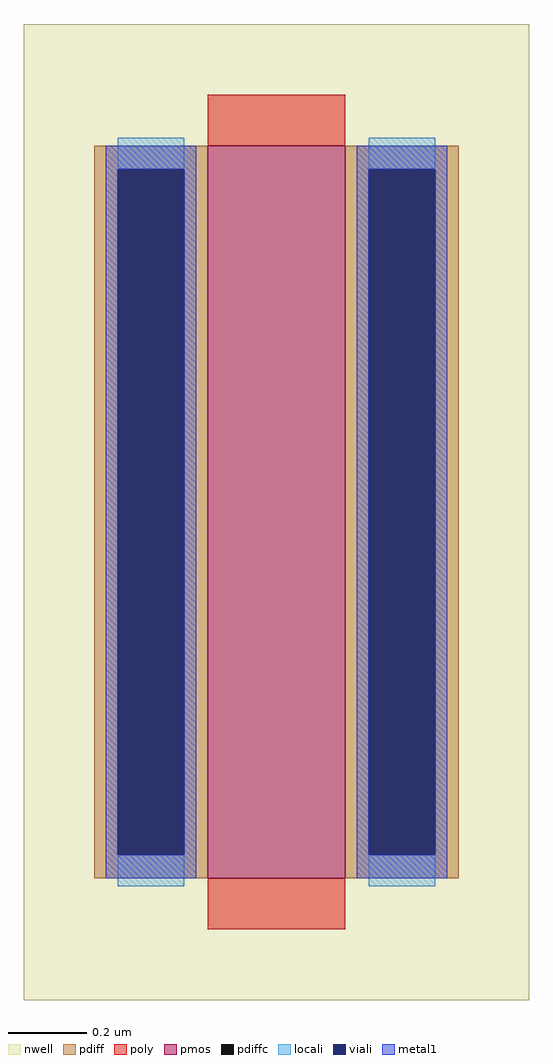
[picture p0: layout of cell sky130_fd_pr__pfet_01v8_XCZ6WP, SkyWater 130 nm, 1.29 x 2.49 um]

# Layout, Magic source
magic
tech sky130A
magscale 1 2
<< nwell >>
rect -129 -249 129 249
<< pmos >>
rect -35 -187 35 187
<< pdiff >>
rect -93 175 -35 187
rect -93 -175 -81 175
rect -47 -175 -35 175
rect -93 -187 -35 -175
rect 35 175 93 187
rect 35 -175 47 175
rect 81 -175 93 175
rect 35 -187 93 -175
<< pdiffc >>
rect -81 -175 -47 175
rect 47 -175 81 175
<< poly >>
rect -35 187 35 213
rect -35 -213 35 -187
<< locali >>
rect -81 175 -47 191
rect -81 -191 -47 -175
rect 47 175 81 191
rect 47 -191 81 -175
<< viali >>
rect -81 -175 -47 175
rect 47 -175 81 175
<< metal1 >>
rect -87 175 -41 187
rect -87 -175 -81 175
rect -47 -175 -41 175
rect -87 -187 -41 -175
rect 41 175 87 187
rect 41 -175 47 175
rect 81 -175 87 175
rect 41 -187 87 -175
<< properties >>
string gencell sky130_fd_pr__pfet_01v8
string library sky130
string parameters w 1.865 l 0.35 m 1 nf 1 diffcov 100 polycov 100 guard 0 glc 0 grc 0 gtc 0 gbc 0 tbcov 100 rlcov 100 topc 0 botc 0 poverlap 0 doverlap 0 lmin 0.15 wmin 0.42 compatible {sky130_fd_pr__pfet_01v8  sky130_fd_pr__pfet_01v8_lvt sky130_fd_pr__pfet_01v8_hvt  sky130_fd_pr__pfet_g5v0d10v5} full_metal 0 viasrc 100 viadrn 100 viagate 100 viagb 0 viagr 0 viagl 0 viagt 0
<< end >>
